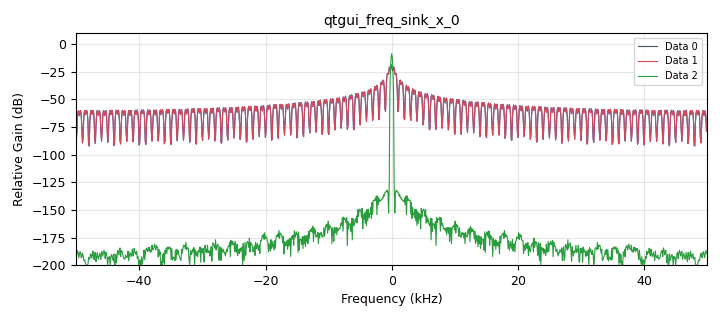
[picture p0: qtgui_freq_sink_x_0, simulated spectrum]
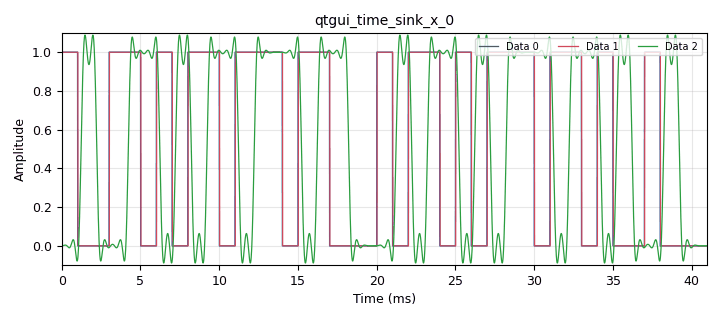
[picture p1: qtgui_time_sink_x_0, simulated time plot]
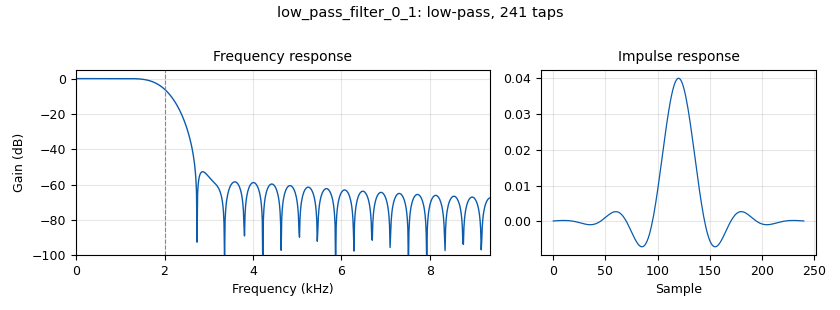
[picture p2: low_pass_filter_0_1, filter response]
<?xml version='1.0' encoding='utf-8'?>
<?grc format='1' created='3.7.11'?>
<flow_graph>
<block>
<key>options</key>
<param><key>id</key><value>top_block</value></param>
<param><key>generate_options</key><value>qt_gui</value></param>
</block>
<block>
<key>variable_qtgui_range</key>
<param><key>id</key><value>cutoff_freq</value></param>
<param><key>value</key><value>samp_rate/2</value></param>
<param><key>orient</key><value>Qt.Horizontal</value></param>
<param><key>start</key><value>10</value></param>
<param><key>step</key><value>100</value></param>
<param><key>stop</key><value>samp_rate/2</value></param>
</block>
<block>
<key>variable_qtgui_range</key>
<param><key>id</key><value>data_rate</value></param>
<param><key>value</key><value>1e3</value></param>
<param><key>orient</key><value>Qt.Horizontal</value></param>
<param><key>start</key><value>100</value></param>
<param><key>step</key><value>10</value></param>
<param><key>stop</key><value>10e3</value></param>
</block>
<block>
<key>variable</key>
<param><key>id</key><value>data_rate</value></param>
<param><key>_enabled</key><value>0</value></param>
<param><key>value</key><value>2e3</value></param>
</block>
<block>
<key>variable</key>
<param><key>id</key><value>samp_rate</value></param>
<param><key>value</key><value>100e3</value></param>
</block>
<block>
<key>variable_qtgui_range</key>
<param><key>id</key><value>transition_width</value></param>
<param><key>value</key><value>20e3</value></param>
<param><key>_enabled</key><value>0</value></param>
<param><key>orient</key><value>Qt.Horizontal</value></param>
<param><key>start</key><value>100</value></param>
<param><key>step</key><value>10</value></param>
<param><key>stop</key><value>samp_rate/4</value></param>
</block>
<block>
<key>variable</key>
<param><key>id</key><value>transition_width</value></param>
<param><key>value</key><value>cutoff_freq</value></param>
</block>
<block>
<key>analog_frequency_modulator_fc</key>
<param><key>id</key><value>analog_frequency_modulator_fc_0</value></param>
<param><key>sensitivity</key><value>1</value></param>
</block>
<block>
<key>analog_noise_source_x</key>
<param><key>id</key><value>analog_noise_source_x_0</value></param>
<param><key>amp</key><value>1</value></param>
<param><key>noise_type</key><value>analog.GR_UNIFORM</value></param>
<param><key>type</key><value>float</value></param>
<param><key>seed</key><value>0</value></param>
</block>
<block>
<key>analog_quadrature_demod_cf</key>
<param><key>id</key><value>analog_quadrature_demod_cf_0</value></param>
<param><key>gain</key><value>1</value></param>
</block>
<block>
<key>blocks_complex_to_mag</key>
<param><key>id</key><value>blocks_complex_to_mag_0</value></param>
</block>
<block>
<key>blocks_repeat</key>
<param><key>id</key><value>blocks_repeat_0</value></param>
<param><key>interp</key><value>int(samp_rate/data_rate)</value></param>
<param><key>type</key><value>float</value></param>
</block>
<block>
<key>blocks_threshold_ff</key>
<param><key>id</key><value>blocks_threshold_ff_0</value></param>
<param><key>high</key><value>0</value></param>
<param><key>init</key><value>0</value></param>
<param><key>low</key><value>0</value></param>
</block>
<block>
<key>low_pass_filter</key>
<param><key>id</key><value>low_pass_filter_0</value></param>
<param><key>cutoff_freq</key><value>cutoff_freq</value></param>
<param><key>decim</key><value>1</value></param>
<param><key>type</key><value>fir_filter_fff</value></param>
<param><key>gain</key><value>1</value></param>
<param><key>samp_rate</key><value>samp_rate</value></param>
<param><key>width</key><value>transition_width</value></param>
<param><key>win</key><value>firdes.WIN_HAMMING</value></param>
</block>
<block>
<key>low_pass_filter</key>
<param><key>id</key><value>low_pass_filter_0_0</value></param>
<param><key>cutoff_freq</key><value>cutoff_freq</value></param>
<param><key>decim</key><value>1</value></param>
<param><key>type</key><value>fir_filter_ccf</value></param>
<param><key>gain</key><value>1</value></param>
<param><key>samp_rate</key><value>samp_rate</value></param>
<param><key>width</key><value>transition_width</value></param>
<param><key>win</key><value>firdes.WIN_HAMMING</value></param>
</block>
<block>
<key>low_pass_filter</key>
<param><key>id</key><value>low_pass_filter_0_1</value></param>
<param><key>cutoff_freq</key><value>data_rate*2</value></param>
<param><key>decim</key><value>1</value></param>
<param><key>type</key><value>fir_filter_fff</value></param>
<param><key>gain</key><value>1</value></param>
<param><key>samp_rate</key><value>samp_rate</value></param>
<param><key>width</key><value>data_rate</value></param>
<param><key>win</key><value>firdes.WIN_HAMMING</value></param>
</block>
<block>
<key>qtgui_freq_sink_x</key>
<param><key>id</key><value>qtgui_freq_sink_x_0</value></param>
<param><key>bw</key><value>samp_rate</value></param>
<param><key>fc</key><value>0</value></param>
<param><key>fftsize</key><value>1024</value></param>
<param><key>label2</key><value></value></param>
<param><key>label3</key><value></value></param>
<param><key>nconnections</key><value>3</value></param>
<param><key>showports</key><value>True</value></param>
<param><key>type</key><value>float</value></param>
<param><key>update_time</key><value>0.05</value></param>
<param><key>wintype</key><value>firdes.WIN_BLACKMAN_hARRIS</value></param>
<param><key>ymin</key><value>-200</value></param>
</block>
<block>
<key>qtgui_time_sink_x</key>
<param><key>id</key><value>qtgui_time_sink_x_0</value></param>
<param><key>color1</key><value>"blue"</value></param>
<param><key>label1</key><value></value></param>
<param><key>color2</key><value>"red"</value></param>
<param><key>label2</key><value></value></param>
<param><key>color3</key><value>"green"</value></param>
<param><key>label3</key><value></value></param>
<param><key>nconnections</key><value>3</value></param>
<param><key>size</key><value>4096</value></param>
<param><key>srate</key><value>samp_rate</value></param>
<param><key>tr_level</key><value>0.3</value></param>
<param><key>tr_mode</key><value>qtgui.TRIG_MODE_AUTO</value></param>
<param><key>type</key><value>float</value></param>
<param><key>update_time</key><value>1</value></param>
<param><key>ymax</key><value>1.1</value></param>
<param><key>ymin</key><value>-0.1</value></param>
</block>
<connection><source_block_id>analog_frequency_modulator_fc_0</source_block_id><sink_block_id>blocks_complex_to_mag_0</sink_block_id><source_key>0</source_key><sink_key>0</sink_key></connection>
<connection><source_block_id>analog_frequency_modulator_fc_0</source_block_id><sink_block_id>low_pass_filter_0_0</sink_block_id><source_key>0</source_key><sink_key>0</sink_key></connection>
<connection><source_block_id>analog_noise_source_x_0</source_block_id><sink_block_id>blocks_threshold_ff_0</sink_block_id><source_key>0</source_key><sink_key>0</sink_key></connection>
<connection><source_block_id>analog_quadrature_demod_cf_0</source_block_id><sink_block_id>low_pass_filter_0_1</sink_block_id><source_key>0</source_key><sink_key>0</sink_key></connection>
<connection><source_block_id>blocks_complex_to_mag_0</source_block_id><sink_block_id>qtgui_freq_sink_x_0</sink_block_id><source_key>0</source_key><sink_key>2</sink_key></connection>
<connection><source_block_id>blocks_repeat_0</source_block_id><sink_block_id>analog_frequency_modulator_fc_0</sink_block_id><source_key>0</source_key><sink_key>0</sink_key></connection>
<connection><source_block_id>blocks_repeat_0</source_block_id><sink_block_id>low_pass_filter_0</sink_block_id><source_key>0</source_key><sink_key>0</sink_key></connection>
<connection><source_block_id>blocks_repeat_0</source_block_id><sink_block_id>qtgui_freq_sink_x_0</sink_block_id><source_key>0</source_key><sink_key>0</sink_key></connection>
<connection><source_block_id>blocks_repeat_0</source_block_id><sink_block_id>qtgui_time_sink_x_0</sink_block_id><source_key>0</source_key><sink_key>0</sink_key></connection>
<connection><source_block_id>blocks_threshold_ff_0</source_block_id><sink_block_id>blocks_repeat_0</sink_block_id><source_key>0</source_key><sink_key>0</sink_key></connection>
<connection><source_block_id>low_pass_filter_0</source_block_id><sink_block_id>qtgui_freq_sink_x_0</sink_block_id><source_key>0</source_key><sink_key>1</sink_key></connection>
<connection><source_block_id>low_pass_filter_0</source_block_id><sink_block_id>qtgui_time_sink_x_0</sink_block_id><source_key>0</source_key><sink_key>1</sink_key></connection>
<connection><source_block_id>low_pass_filter_0_0</source_block_id><sink_block_id>analog_quadrature_demod_cf_0</sink_block_id><source_key>0</source_key><sink_key>0</sink_key></connection>
<connection><source_block_id>low_pass_filter_0_1</source_block_id><sink_block_id>qtgui_time_sink_x_0</sink_block_id><source_key>0</source_key><sink_key>2</sink_key></connection>
</flow_graph>
